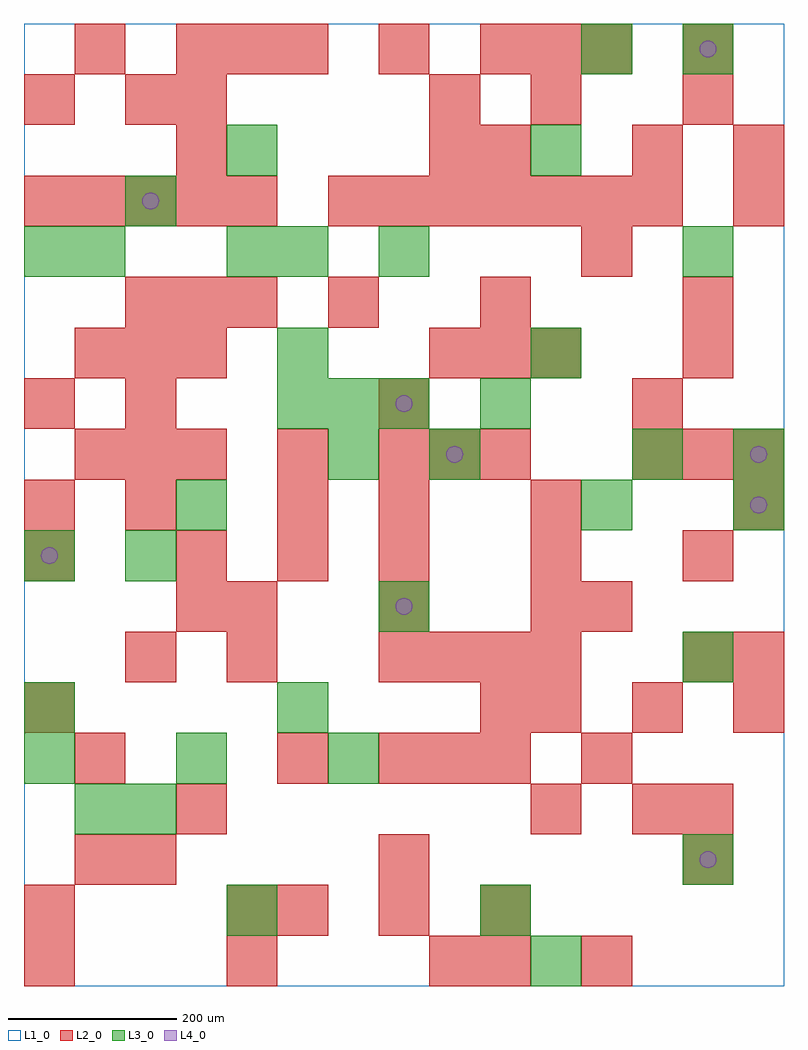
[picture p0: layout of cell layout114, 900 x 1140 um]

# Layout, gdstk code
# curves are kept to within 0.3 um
import gdstk
lib = gdstk.Library(unit=1e-6, precision=1e-09)
def R(c, l, rs):  # rectangles x0, y0, x1, y1
    for r in rs: c.add(gdstk.rectangle(r[:2], r[2:], *l))
def A(c, l, x, y, w, h, nx, ny, dx, dy):  # array of equal rectangles
    R(c, l, [(x+i*dx, y+j*dy, x+i*dx+w, y+j*dy+h) for i in range(nx) for j in range(ny)])
def P(c, l, *ps):  # polygons
    for p in ps: c.add(gdstk.Polygon(p, *l))
L1_0 = (1, 0)
L2_0 = (2, 0)
L3_0 = (3, 0)
L4_0 = (4, 0)

layout114 = lib.new_cell('layout114')
R(layout114, L1_0, [(0,0,900,1140)])
A(layout114, L2_0, 0, 0, 60, 60, 3, 1, 240, 0)
A(layout114, L2_0, 300, 60, 60, 60, 3, 1, 120, 0)
A(layout114, L2_0, 420, 240, 60, 60, 3, 2, 60, 360)
A(layout114, L2_0, 600, 300, 60, 60, 3, 1, 120, 0)
A(layout114, L2_0, 420, 360, 60, 60, 4, 1, 60, 0)
A(layout114, L2_0, 240, 420, 60, 60, 3, 1, 180, 0)
A(layout114, L2_0, 180, 480, 60, 60, 3, 1, 120, 0)
A(layout114, L2_0, 60, 600, 60, 60, 3, 2, 60, 120)
A(layout114, L2_0, 720, 600, 60, 60, 3, 1, 60, 0)
A(layout114, L2_0, 120, 660, 60, 60, 3, 1, 300, 0)
A(layout114, L2_0, 480, 720, 60, 60, 3, 1, 60, 0)
A(layout114, L2_0, 120, 780, 60, 60, 3, 1, 60, 0)
A(layout114, L2_0, 0, 900, 60, 60, 5, 1, 60, 0)
A(layout114, L2_0, 360, 900, 60, 60, 7, 1, 60, 0)
A(layout114, L2_0, 180, 1080, 60, 60, 3, 1, 60, 0)
A(layout114, L2_0, 540, 1080, 60, 60, 3, 1, 60, 0)
R(layout114, L2_0, [(540,0,600,60), (660,0,720,60), (0,60,60,120), (240,60,300,120), (60,120,120,180), (120,120,180,180), (420,120,480,180), (780,120,840,180), (180,180,240,240), (600,180,660,240), (720,180,780,240), (780,180,840,240), (60,240,120,300), (300,240,360,300), (660,240,720,300), (0,300,60,360), (540,300,600,360), (120,360,180,420), (240,360,300,420), (780,360,840,420), (840,360,900,420), (180,420,240,480), (660,420,720,480), (0,480,60,540), (600,480,660,540), (780,480,840,540), (0,540,60,600), (120,540,180,600), (300,540,360,600), (420,540,480,600), (600,540,660,600), (840,540,900,600), (300,600,360,660), (0,660,60,720), (780,720,840,780), (360,780,420,840), (540,780,600,840), (780,780,840,840), (660,840,720,900), (840,900,900,960), (180,960,240,1020), (480,960,540,1020), (540,960,600,1020), (720,960,780,1020), (840,960,900,1020), (0,1020,60,1080), (120,1020,180,1080), (180,1020,240,1080), (480,1020,540,1080), (600,1020,660,1080), (780,1020,840,1080), (60,1080,120,1140), (420,1080,480,1140), (780,1080,840,1140)])
A(layout114, L3_0, 0, 240, 60, 60, 3, 1, 180, 0)
A(layout114, L3_0, 300, 660, 60, 60, 3, 1, 60, 0)
R(layout114, L3_0, [(600,0,660,60), (240,60,300,120), (540,60,600,120), (780,120,840,180), (60,180,120,240), (120,180,180,240), (0,300,60,360), (300,300,360,360), (780,360,840,420), (420,420,480,480), (0,480,60,540), (120,480,180,540), (180,540,240,600), (660,540,720,600), (840,540,900,600), (360,600,420,660), (480,600,540,660), (720,600,780,660), (840,600,900,660), (540,660,600,720), (300,720,360,780), (600,720,660,780), (0,840,60,900), (60,840,120,900), (240,840,300,900), (300,840,360,900), (420,840,480,900), (780,840,840,900), (120,900,180,960), (240,960,300,1020), (600,960,660,1020), (660,1080,720,1140), (780,1080,840,1140)])
P(layout114, L4_0, [(40,510),(39.239,513.827),(37.071,517.071),(33.827,519.239),(30,520),(26.173,519.239),(22.929,517.071),(20.761,513.827),(20,510),(20.761,506.173),(22.929,502.929),(26.173,500.761),(30,500),(33.827,500.761),(37.071,502.929),(39.239,506.173)],
  [(160,930),(159.239,933.827),(157.071,937.071),(153.827,939.239),(150,940),(146.173,939.239),(142.929,937.071),(140.761,933.827),(140,930),(140.761,926.173),(142.929,922.929),(146.173,920.761),(150,920),(153.827,920.761),(157.071,922.929),(159.239,926.173)],
  [(460,450),(459.239,453.827),(457.071,457.071),(453.827,459.239),(450,460),(446.173,459.239),(442.929,457.071),(440.761,453.827),(440,450),(440.761,446.173),(442.929,442.929),(446.173,440.761),(450,440),(453.827,440.761),(457.071,442.929),(459.239,446.173)],
  [(460,690),(459.239,693.827),(457.071,697.071),(453.827,699.239),(450,700),(446.173,699.239),(442.929,697.071),(440.761,693.827),(440,690),(440.761,686.173),(442.929,682.929),(446.173,680.761),(450,680),(453.827,680.761),(457.071,682.929),(459.239,686.173)],
  [(520,630),(519.239,633.827),(517.071,637.071),(513.827,639.239),(510,640),(506.173,639.239),(502.929,637.071),(500.761,633.827),(500,630),(500.761,626.173),(502.929,622.929),(506.173,620.761),(510,620),(513.827,620.761),(517.071,622.929),(519.239,626.173)],
  [(820,150),(819.239,153.827),(817.071,157.071),(813.827,159.239),(810,160),(806.173,159.239),(802.929,157.071),(800.761,153.827),(800,150),(800.761,146.173),(802.929,142.929),(806.173,140.761),(810,140),(813.827,140.761),(817.071,142.929),(819.239,146.173)],
  [(820,1110),(819.239,1113.827),(817.071,1117.071),(813.827,1119.239),(810,1120),(806.173,1119.239),(802.929,1117.071),(800.761,1113.827),(800,1110),(800.761,1106.173),(802.929,1102.929),(806.173,1100.761),(810,1100),(813.827,1100.761),(817.071,1102.929),(819.239,1106.173)],
  [(880,570),(879.239,573.827),(877.071,577.071),(873.827,579.239),(870,580),(866.173,579.239),(862.929,577.071),(860.761,573.827),(860,570),(860.761,566.173),(862.929,562.929),(866.173,560.761),(870,560),(873.827,560.761),(877.071,562.929),(879.239,566.173)],
  [(880,630),(879.239,633.827),(877.071,637.071),(873.827,639.239),(870,640),(866.173,639.239),(862.929,637.071),(860.761,633.827),(860,630),(860.761,626.173),(862.929,622.929),(866.173,620.761),(870,620),(873.827,620.761),(877.071,622.929),(879.239,626.173)])

lib.write_gds('layout114.gds')
